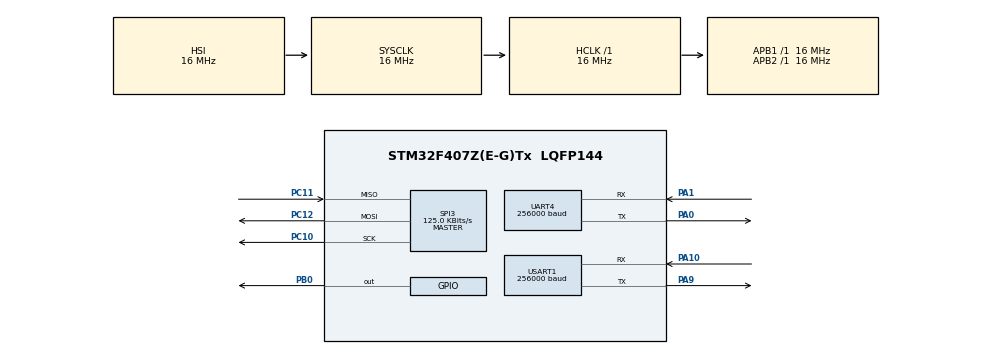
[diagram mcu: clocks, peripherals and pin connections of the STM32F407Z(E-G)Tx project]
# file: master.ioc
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Mcu.Family=STM32F4
Mcu.Name=STM32F407Z(E-G)Tx
Mcu.Package=LQFP144
NVIC.PriorityGroup=NVIC_PRIORITYGROUP_4
PA0-WKUP.Mode=Asynchronous
PA0-WKUP.Signal=UART4_TX
PA1.Mode=Asynchronous
PA1.Signal=UART4_RX
PA10.Mode=Asynchronous
PA10.Signal=USART1_RX
PA13.Mode=JTAG_4_pins
PA13.Signal=SYS_JTMS-SWDIO
PA14.Mode=JTAG_4_pins
PA14.Signal=SYS_JTCK-SWCLK
PA15.Mode=JTAG_4_pins
PA15.Signal=SYS_JTDI
PA9.Mode=Asynchronous
PA9.Signal=USART1_TX
PB0.GPIO_PuPd=GPIO_PULLDOWN
PB0.PinState=GPIO_PIN_RESET
PB0.Signal=GPIO_Output
PB3.Mode=JTAG_4_pins
PB3.Signal=SYS_JTDO-SWO
PC10.Mode=Full_Duplex_Master
PC10.Signal=SPI3_SCK
PC11.Mode=Full_Duplex_Master
PC11.Signal=SPI3_MISO
PC12.Mode=Full_Duplex_Master
PC12.Signal=SPI3_MOSI
ProjectManager.HeapSize=0x200
ProjectManager.StackSize=0x400
ProjectManager.TargetToolchain=CMake
RCC.AHBFreq_Value=16000000
RCC.APB1Freq_Value=16000000
RCC.APB2Freq_Value=16000000
RCC.CortexFreq_Value=16000000
RCC.HSE_VALUE=25000000
RCC.HSI_VALUE=16000000
RCC.LSE_VALUE=32768
RCC.SYSCLKFreq_VALUE=16000000
RCC.VCOOutputFreq_Value=192000000
SPI3.BaudRatePrescaler=SPI_BAUDRATEPRESCALER_128
SPI3.CalculateBaudRate=125.0 KBits/s
SPI3.Direction=SPI_DIRECTION_2LINES
SPI3.Mode=SPI_MODE_MASTER
SPI3.VirtualType=VM_MASTER
UART4.BaudRate=256000
UART4.VirtualMode=Asynchronous
USART1.BaudRate=256000
USART1.VirtualMode=VM_ASYNC
board=custom

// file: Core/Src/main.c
/* USER CODE BEGIN Header */
/**
  ******************************************************************************
  * @file           : main.c
  * @brief          : Main program body
  ******************************************************************************
  * @attention
  *
  * Copyright (c) 2026 STMicroelectronics.
  * All rights reserved.
  *
  * This software is licensed under terms that can be found in the LICENSE file
  * in the root directory of this software component.
  * If no LICENSE file comes with this software, it is provided AS-IS.
  *
  ******************************************************************************
  */
/* USER CODE END Header */
#include "main.h"

/* USER CODE BEGIN Includes */
#include "stdio.h"
#include "string.h"
/* USER CODE END Includes */

SPI_HandleTypeDef hspi3;

UART_HandleTypeDef huart4;
UART_HandleTypeDef huart1;

/* USER CODE BEGIN PV */
char release_torque[9]="#255PULK!";
char command_get_position[9]="#000PRAD!";
char receive_position[11]="";
char transmit_position[5]="";
//char command_temp_volt[9]="";
/* USER CODE END PV */

void SystemClock_Config(void);
static void MX_GPIO_Init(void);
static void MX_UART4_Init(void);
static void MX_USART1_UART_Init(void);
static void MX_SPI3_Init(void);
/* USER CODE BEGIN PFP */

//初始化DWT的电源和时钟，并启动计数器
void DWT_Delay_Init(void)
{
    CoreDebug->DEMCR |= CoreDebug_DEMCR_TRCENA_Msk;  //开启内核跟踪调试组件（TRCENA）的使能
    DWT->CYCCNT = 0;  //将周期计数器 CYCCNT 清零
    DWT->CTRL |= DWT_CTRL_CYCCNTENA_Msk;  //使能 CYCCNT 计数器，使其开始自增
}

// 纯硬件微秒延时函数
void delay_us(uint32_t us)
{
    uint32_t startTick = DWT->CYCCNT;  //CPU周期当前计数值
    // 根据主频计算需要的时钟周期数
    uint32_t delayTicks = us * (SystemCoreClock / 1000000);  //预设延时长度：需要经过的总时钟周期数

    while ((DWT->CYCCNT - startTick) < delayTicks);  //阻塞等待，直到经过的时钟周期数达到了目标值
}
/* USER CODE END PFP */

int main(void)
{

  /* MCU Configuration--------------------------------------------------------*/

  /* Reset of all peripherals, Initializes the Flash interface and the Systick. */
  HAL_Init();

  /* Configure the system clock */
  SystemClock_Config();

  /* USER CODE BEGIN SysInit */
  DWT_Delay_Init();
  /* USER CODE END SysInit */

  /* Initialize all configured peripherals */
  MX_GPIO_Init();
  MX_UART4_Init();
  MX_USART1_UART_Init();
  MX_SPI3_Init();
  /* USER CODE BEGIN 2 */
  HAL_UART_Transmit(&huart4,(uint8_t*)release_torque,sizeof(release_torque),1);
  /* USER CODE END 2 */

  /* Infinite loop */
  /* USER CODE BEGIN WHILE */
  while (1)
  {
    for(uint8_t i=0;i<6;i++)
    {
      command_get_position[3]=i+'0'; transmit_position[0]=i+'0';
      HAL_UART_Transmit(&huart4,(uint8_t*)command_get_position,sizeof(command_get_position),1);
      HAL_UART_Receive(&huart4,(uint8_t*)receive_position,sizeof(receive_position),4);
      //for(uint8_t i=1,j=5;i<5;i++,j++) {transmit_position[i]=receive_position[j];}
      memcpy(&transmit_position[1],&receive_position[5],4);

      HAL_GPIO_WritePin(GPIOB,GPIO_PIN_0,GPIO_PIN_SET);
      delay_us(100);
      HAL_SPI_Transmit(&hspi3,(uint8_t*)transmit_position,sizeof(transmit_position),HAL_MAX_DELAY);
      HAL_GPIO_WritePin(GPIOB,GPIO_PIN_0,GPIO_PIN_RESET);

      printf("%s\r\n",transmit_position);
    }
    printf("\033[6A");

    /* USER CODE END WHILE */

  }
}

void SystemClock_Config(void)
{
  RCC_OscInitTypeDef RCC_OscInitStruct = {0};
  RCC_ClkInitTypeDef RCC_ClkInitStruct = {0};

  /** Configure the main internal regulator output voltage
  */
  __HAL_RCC_PWR_CLK_ENABLE();
  __HAL_PWR_VOLTAGESCALING_CONFIG(PWR_REGULATOR_VOLTAGE_SCALE1);

  /** Initializes the RCC Oscillators according to the specified parameters
  * in the RCC_OscInitTypeDef structure.
  */
  RCC_OscInitStruct.OscillatorType = RCC_OSCILLATORTYPE_HSI;
  RCC_OscInitStruct.HSIState = RCC_HSI_ON;
  RCC_OscInitStruct.HSICalibrationValue = RCC_HSICALIBRATION_DEFAULT;
  RCC_OscInitStruct.PLL.PLLState = RCC_PLL_NONE;
  if (HAL_RCC_OscConfig(&RCC_OscInitStruct) != HAL_OK)
  {
    Error_Handler();
  }

  /** Initializes the CPU, AHB and APB buses clocks
  */
  RCC_ClkInitStruct.ClockType = RCC_CLOCKTYPE_HCLK|RCC_CLOCKTYPE_SYSCLK
                              |RCC_CLOCKTYPE_PCLK1|RCC_CLOCKTYPE_PCLK2;
  RCC_ClkInitStruct.SYSCLKSource = RCC_SYSCLKSOURCE_HSI;
  RCC_ClkInitStruct.AHBCLKDivider = RCC_SYSCLK_DIV1;
  RCC_ClkInitStruct.APB1CLKDivider = RCC_HCLK_DIV1;
  RCC_ClkInitStruct.APB2CLKDivider = RCC_HCLK_DIV1;

  if (HAL_RCC_ClockConfig(&RCC_ClkInitStruct, FLASH_LATENCY_0) != HAL_OK)
  {
    Error_Handler();
  }
}

static void MX_SPI3_Init(void)
{

  /* SPI3 parameter configuration*/
  hspi3.Instance = SPI3;
  hspi3.Init.Mode = SPI_MODE_MASTER;
  hspi3.Init.Direction = SPI_DIRECTION_2LINES;
  hspi3.Init.DataSize = SPI_DATASIZE_8BIT;
  hspi3.Init.CLKPolarity = SPI_POLARITY_LOW;
  hspi3.Init.CLKPhase = SPI_PHASE_1EDGE;
  hspi3.Init.NSS = SPI_NSS_SOFT;
  hspi3.Init.BaudRatePrescaler = SPI_BAUDRATEPRESCALER_128;
  hspi3.Init.FirstBit = SPI_FIRSTBIT_MSB;
  hspi3.Init.TIMode = SPI_TIMODE_DISABLE;
  hspi3.Init.CRCCalculation = SPI_CRCCALCULATION_DISABLE;
  hspi3.Init.CRCPolynomial = 10;
  if (HAL_SPI_Init(&hspi3) != HAL_OK)
  {
    Error_Handler();
  }

}

static void MX_UART4_Init(void)
{

  huart4.Instance = UART4;
  huart4.Init.BaudRate = 256000;
  huart4.Init.WordLength = UART_WORDLENGTH_8B;
  huart4.Init.StopBits = UART_STOPBITS_1;
  huart4.Init.Parity = UART_PARITY_NONE;
  huart4.Init.Mode = UART_MODE_TX_RX;
  huart4.Init.HwFlowCtl = UART_HWCONTROL_NONE;
  huart4.Init.OverSampling = UART_OVERSAMPLING_16;
  if (HAL_UART_Init(&huart4) != HAL_OK)
  {
    Error_Handler();
  }

}

static void MX_USART1_UART_Init(void)
{

  huart1.Instance = USART1;
  huart1.Init.BaudRate = 256000;
  huart1.Init.WordLength = UART_WORDLENGTH_8B;
  huart1.Init.StopBits = UART_STOPBITS_1;
  huart1.Init.Parity = UART_PARITY_NONE;
  huart1.Init.Mode = UART_MODE_TX_RX;
  huart1.Init.HwFlowCtl = UART_HWCONTROL_NONE;
  huart1.Init.OverSampling = UART_OVERSAMPLING_16;
  if (HAL_UART_Init(&huart1) != HAL_OK)
  {
    Error_Handler();
  }

}

static void MX_GPIO_Init(void)
{
  GPIO_InitTypeDef GPIO_InitStruct = {0};

  /* GPIO Ports Clock Enable */
  __HAL_RCC_GPIOA_CLK_ENABLE();
  __HAL_RCC_GPIOB_CLK_ENABLE();
  __HAL_RCC_GPIOC_CLK_ENABLE();

  /*Configure GPIO pin Output Level */
  HAL_GPIO_WritePin(GPIOB, GPIO_PIN_0, GPIO_PIN_RESET);

  /*Configure GPIO pin : PB0 */
  GPIO_InitStruct.Pin = GPIO_PIN_0;
  GPIO_InitStruct.Mode = GPIO_MODE_OUTPUT_PP;
  GPIO_InitStruct.Pull = GPIO_PULLDOWN;
  GPIO_InitStruct.Speed = GPIO_SPEED_FREQ_LOW;
  HAL_GPIO_Init(GPIOB, &GPIO_InitStruct);

}

/* USER CODE BEGIN 4 */
int _write(int file,char *ptr,int len)
{
  if(HAL_UART_Transmit(&huart1,(uint8_t*)ptr,len,HAL_MAX_DELAY)!=HAL_OK)
  {return -1;}

  return len;
}
/* USER CODE END 4 */

void Error_Handler(void)
{
  __disable_irq();
  while (1)
  {
  }
}
